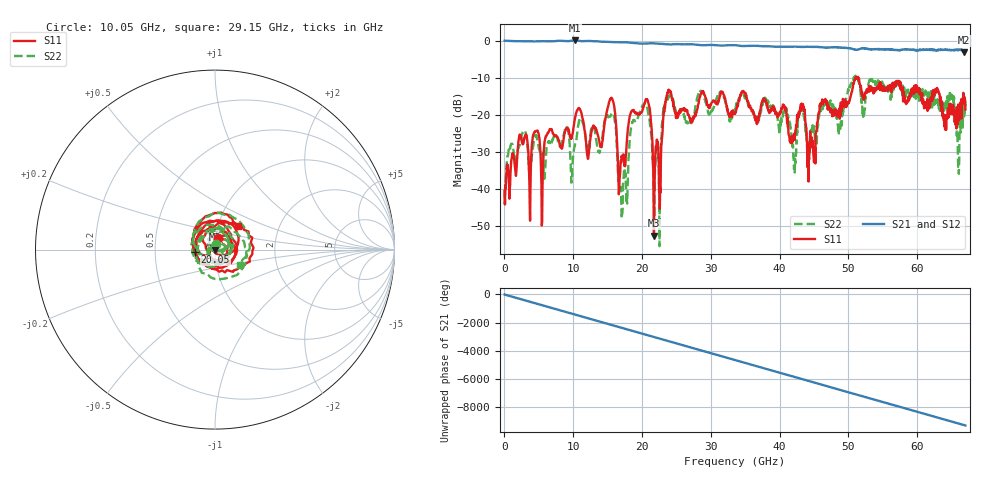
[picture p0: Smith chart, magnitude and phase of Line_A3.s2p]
#  HZ  S  MA  R  50.00
! Rohde & Schwarz ZVA67 4Ports - Version 4.11 - 1305.7002k04 SN: 101051
! Date: 2023-05-31 12:42:10
! Measurements: S11 S21 S12 S22
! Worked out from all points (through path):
!   1340 points, 50 MHz to 67 GHz, reference 50 ohm
!   highest |S21| = 0.02 dB at 10.25 GHz (marker M1); lowest = -3.2 dB at 66.8 GHz (marker M2)
!   group delay of S21, straight-line fit = 385 ps
!   lowest |S11| = -52.5 dB at 21.75 GHz (marker M3), VSWR 1.00, Z = 49.8 + j0.00243 ohm
!   |S11| at or under -10 dB: start of sweep to 51.11 GHz; 51.19378 GHz to 51.21028 GHz (16.5 MHz wide, 0.0322 % of centre); 51.42 GHz to end of sweep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
!   |S22| runs from -55.3 to -9.5 dB; largest |S21 - S12| = 0.17
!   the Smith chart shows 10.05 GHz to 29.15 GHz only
!   S11 on the Smith chart (normalised r, x): 10.05 GHz: 1.03, +0.13; 20.05 GHz: 0.80, -0.02; 29.15 GHz: 1.24, +0.34
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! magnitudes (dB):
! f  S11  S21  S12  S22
! 50 MHz  -40.5  -0.1  -0.1  -39.9
! 2.85 GHz  -27.0  -0.2  -0.2  -24.2
! 5.5 GHz  -48.8  -0.2  -0.2  -30.3
! 10.05 GHz  -23.5  0.0  0.0  -30.4
! 10.25 GHz  -21.2  0.0  0.0  -28.4
! 11.25 GHz  -19.9  -0.2  -0.1  -21.1
! 12.2 GHz  -31.7  -0.1  -0.1  -29.5
! 15.8 GHz  -16.3  -0.4  -0.4  -19.9
! 17 GHz  -32.8  -0.5  -0.4  -43.7
! 20.05 GHz  -19.0  -0.8  -0.8  -18.0
! 21 GHz  -17.2  -0.8  -0.8  -20.1
! 21.75 GHz  -52.5  -0.8  -0.8  -44.5
! 22.4 GHz  -30.1  -0.9  -0.8  -31.1
! 23.8 GHz  -13.5  -1.0  -1.0  -15.5
! 29.15 GHz  -14.7  -1.3  -1.2  -15.7
! 33.55 GHz  -19.6  -1.3  -1.3  -17.9
! 43.3 GHz  -17.2  -1.7  -1.7  -18.9
! 44.7 GHz  -26.6  -1.7  -1.7  -23.1
! 46.35 GHz  -16.1  -1.8  -1.8  -17.4
! 55.85 GHz  -13.3  -2.3  -2.3  -14.1
! 66.8 GHz  -15.6  -3.2  -3.2  -20.5
! 67 GHz  -18.5  -3.0  -3.0  -17.7
